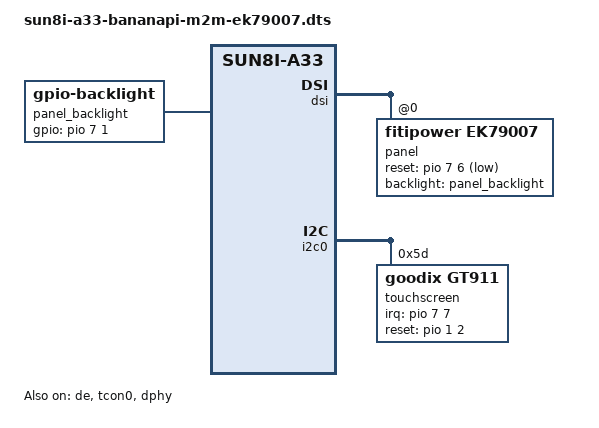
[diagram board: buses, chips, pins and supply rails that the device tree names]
// SPDX-License-Identifier: (GPL-2.0+ OR MIT)
/*
 * Banana Pi BPI-M2 Magic (A33) + EK79007 7" 1024x600 MIPI-DSI panel,
 * connected through the bpi24-dsi-flex Rev F adapter.
 *
 * DRAFT — compiles, never booted. Pin assignments below are chosen from the
 * 40-pin header table and MUST be verified against the R16/A33 manual and the
 * board before wiring.
 *
 * The 24-way ribbon carries only DSI lanes, I2C, GND and 3V3. Panel reset,
 * touch reset, touch interrupt and backlight enable are flying wires from the
 * adapter board's J6 header to the 40-pin header:
 *
 *   J6 RESET_LCD -> CON1-P11  PH6
 *   J6 RESET_TP  -> CON1-P16  PB2
 *   J6 INT_TP    -> CON1-P13  PH7   (EINT-capable bank)
 *   J6 LED_CTRL  -> CON1-P07  PH1   (also PWM1, for pwm-backlight later)
 *
 * Panel 3V3 comes from the cable's solder ear, fed from CON1-P01/P17.
 * Panel 5V comes from the adapter board's own USB-C — see docs/strategy.md.
 */

#include "sun8i-r16-bananapi-m2m.dts"

/ {
	/*
	 * Pin the MMC numbering. Without these, mmcblk indices are handed out in
	 * probe-completion order, so the SD card lands on mmcblk0 or mmcblk2
	 * depending on how the SDIO Wi-Fi race resolves that boot — and
	 * root=/dev/mmcblkNp1 becomes a coin flip. Observed on hardware:
	 * first boot took mmcblk0, every later boot took mmcblk2 and hung in
	 * rootwait.
	 */
	aliases {
		mmc0 = &mmc0;	/* 1c0f000 - SD card   */
		mmc1 = &mmc1;	/* 1c10000 - SDIO WiFi */
		mmc2 = &mmc2;	/* 1c11000 - eMMC (not populated) */
	};

	panel_backlight: panel-backlight {
		compatible = "gpio-backlight";
		gpios = <&pio 7 1 GPIO_ACTIVE_HIGH>;	/* PH1 - J6 LED_CTRL */
		default-on;
	};
};

&de {
	status = "okay";
};

&tcon0 {
	status = "okay";
};

&dphy {
	status = "okay";
};

&dsi {
	status = "okay";

	panel@0 {
		compatible = "fitipower,ek79007";
		reg = <0>;
		reset-gpios = <&pio 7 6 GPIO_ACTIVE_LOW>;	/* PH6 - J6 RESET_LCD */
		backlight = <&panel_backlight>;
	};
};

/*
 * CN2-13 TP-SDA = PH3, CN2-14 TP-SCK = PH2 -> the ribbon's I2C pair.
 * GT911 touch controller lives here.
 *
 * TODO: confirm PH2/PH3 is i2c0 and not another TWI instance.
 */
&i2c0 {
	status = "okay";

	touchscreen@5d {
		compatible = "goodix,gt911";
		reg = <0x5d>;
		interrupt-parent = <&pio>;
		interrupts = <7 7 IRQ_TYPE_EDGE_FALLING>;	/* PH7 */
		irq-gpios = <&pio 7 7 GPIO_ACTIVE_HIGH>;	/* PH7 - J6 INT_TP  */
		reset-gpios = <&pio 1 2 GPIO_ACTIVE_HIGH>;	/* PB2 - J6 RESET_TP */
		touchscreen-size-x = <1024>;
		touchscreen-size-y = <600>;
	};
};
